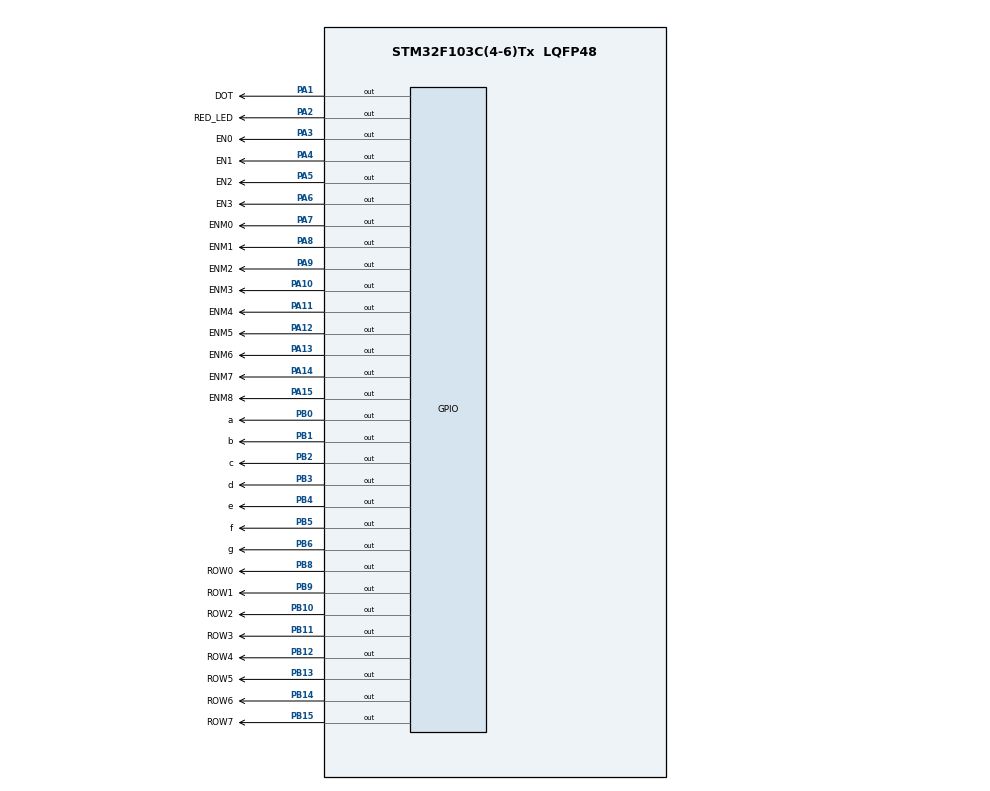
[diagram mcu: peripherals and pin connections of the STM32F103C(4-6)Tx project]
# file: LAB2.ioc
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Mcu.Family=STM32F1
Mcu.Name=STM32F103C(4-6)Tx
Mcu.Package=LQFP48
NVIC.PriorityGroup=NVIC_PRIORITYGROUP_4
NVIC.TIM2_IRQn=true\:0\:0\:false\:false\:true\:true\:true
PA1.GPIO_Label=DOT
PA1.Signal=GPIO_Output
PA10.GPIO_Label=ENM3
PA10.Signal=GPIO_Output
PA11.GPIO_Label=ENM4
PA11.Signal=GPIO_Output
PA12.GPIO_Label=ENM5
PA12.Signal=GPIO_Output
PA13.GPIO_Label=ENM6
PA13.Signal=GPIO_Output
PA14.GPIO_Label=ENM7
PA14.Signal=GPIO_Output
PA15.GPIO_Label=ENM8
PA15.Signal=GPIO_Output
PA2.GPIO_Label=RED_LED
PA2.Signal=GPIO_Output
PA3.GPIO_Label=EN0
PA3.Signal=GPIO_Output
PA4.GPIO_Label=EN1
PA4.Signal=GPIO_Output
PA5.GPIO_Label=EN2
PA5.Signal=GPIO_Output
PA6.GPIO_Label=EN3
PA6.Signal=GPIO_Output
PA7.GPIO_Label=ENM0
PA7.Signal=GPIO_Output
PA8.GPIO_Label=ENM1
PA8.Signal=GPIO_Output
PA9.GPIO_Label=ENM2
PA9.Signal=GPIO_Output
PB0.GPIO_Label=a
PB0.Signal=GPIO_Output
PB1.GPIO_Label=b
PB1.Signal=GPIO_Output
PB10.GPIO_Label=ROW2
PB10.Signal=GPIO_Output
PB11.GPIO_Label=ROW3
PB11.Signal=GPIO_Output
PB12.GPIO_Label=ROW4
PB12.Signal=GPIO_Output
PB13.GPIO_Label=ROW5
PB13.Signal=GPIO_Output
PB14.GPIO_Label=ROW6
PB14.Signal=GPIO_Output
PB15.GPIO_Label=ROW7
PB15.Signal=GPIO_Output
PB2.GPIO_Label=c
PB2.Signal=GPIO_Output
PB3.GPIO_Label=d
PB3.Signal=GPIO_Output
PB4.GPIO_Label=e
PB4.Signal=GPIO_Output
PB5.GPIO_Label=f
PB5.Signal=GPIO_Output
PB6.GPIO_Label=g
PB6.Signal=GPIO_Output
PB8.GPIO_Label=ROW0
PB8.Signal=GPIO_Output
PB9.GPIO_Label=ROW1
PB9.Signal=GPIO_Output
ProjectManager.HeapSize=0x200
ProjectManager.StackSize=0x400
ProjectManager.TargetToolchain=STM32CubeIDE
RCC.APB1Freq_Value=8000000
RCC.APB2Freq_Value=8000000
TIM2.Period=9
TIM2.Prescaler=7999
VP_SYS_VS_ND.Mode=No_Debug
VP_TIM2_VS_ClockSourceINT.Mode=Internal
board=custom

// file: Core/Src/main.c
/* USER CODE BEGIN Header */
/**
  ******************************************************************************
  * @file           : main.c
  * @brief          : Main program body
  ******************************************************************************
  * @attention
  *
  * <h2><center>&copy; Copyright (c) 2024 STMicroelectronics.
  * All rights reserved.</center></h2>
  *
  * This software component is licensed by ST under BSD 3-Clause license,
  * the "License"; You may not use this file except in compliance with the
  * License. You may obtain a copy of the License at:
  *                        opensource.org/licenses/BSD-3-Clause
  *
  ******************************************************************************
  */
/* USER CODE END Header */
#include "main.h"
/* USER CODE BEGIN Includes */
#include "software_timer.h"
//#include "Ex8.h"

/* USER CODE END Includes */

TIM_HandleTypeDef htim2;

void SystemClock_Config(void);
static void MX_GPIO_Init(void);
static void MX_TIM2_Init(void);

/* USER CODE BEGIN 0 */
int hour, minute, second;
//int hour_digit1, hour_digit2, min_digit1, min_digit2;
const int MAX_LED = 4;
int index_led = 0;
int led_buffer[] = {1,2,3,4};

void display7SEG(int num){
	if (num == 0){
		HAL_GPIO_WritePin(a_GPIO_Port, a_Pin, 0);
		HAL_GPIO_WritePin(b_GPIO_Port, b_Pin, 0);
		HAL_GPIO_WritePin(c_GPIO_Port, c_Pin, 0);
		HAL_GPIO_WritePin(d_GPIO_Port, d_Pin, 0);
		HAL_GPIO_WritePin(e_GPIO_Port, e_Pin, 0);
		HAL_GPIO_WritePin(f_GPIO_Port, f_Pin, 0);
		HAL_GPIO_WritePin(g_GPIO_Port, g_Pin, 1);
	}
	if (num == 1){
		HAL_GPIO_WritePin(a_GPIO_Port, a_Pin, 1);
		HAL_GPIO_WritePin(b_GPIO_Port, b_Pin, 0);
		HAL_GPIO_WritePin(c_GPIO_Port, c_Pin, 0);
		HAL_GPIO_WritePin(d_GPIO_Port, d_Pin, 1);
		HAL_GPIO_WritePin(e_GPIO_Port, e_Pin, 1);
		HAL_GPIO_WritePin(f_GPIO_Port, f_Pin, 1);
		HAL_GPIO_WritePin(g_GPIO_Port, g_Pin, 1);
	}
	if (num == 2){
		HAL_GPIO_WritePin(a_GPIO_Port, a_Pin, 0);
		HAL_GPIO_WritePin(b_GPIO_Port, b_Pin, 0);
		HAL_GPIO_WritePin(c_GPIO_Port, c_Pin, 1);
		HAL_GPIO_WritePin(d_GPIO_Port, d_Pin, 0);
		HAL_GPIO_WritePin(e_GPIO_Port, e_Pin, 0);
		HAL_GPIO_WritePin(f_GPIO_Port, f_Pin, 1);
		HAL_GPIO_WritePin(g_GPIO_Port, g_Pin, 0);
	}
	if (num == 3){
		HAL_GPIO_WritePin(a_GPIO_Port, a_Pin, 0);
		HAL_GPIO_WritePin(b_GPIO_Port, b_Pin, 0);
		HAL_GPIO_WritePin(c_GPIO_Port, c_Pin, 0);
		HAL_GPIO_WritePin(d_GPIO_Port, d_Pin, 0);
		HAL_GPIO_WritePin(e_GPIO_Port, e_Pin, 1);
		HAL_GPIO_WritePin(f_GPIO_Port, f_Pin, 1);
		HAL_GPIO_WritePin(g_GPIO_Port, g_Pin, 0);
	}
	if (num == 4){
		HAL_GPIO_WritePin(a_GPIO_Port, a_Pin, 1);
		HAL_GPIO_WritePin(b_GPIO_Port, b_Pin, 0);
		HAL_GPIO_WritePin(c_GPIO_Port, c_Pin, 0);
		HAL_GPIO_WritePin(d_GPIO_Port, d_Pin, 1);
		HAL_GPIO_WritePin(e_GPIO_Port, e_Pin, 1);
		HAL_GPIO_WritePin(f_GPIO_Port, f_Pin, 0);
		HAL_GPIO_WritePin(g_GPIO_Port, g_Pin, 0);
	}
	if (num == 5){
		HAL_GPIO_WritePin(a_GPIO_Port, a_Pin, 0);
		HAL_GPIO_WritePin(b_GPIO_Port, b_Pin, 1);
		HAL_GPIO_WritePin(c_GPIO_Port, c_Pin, 0);
		HAL_GPIO_WritePin(d_GPIO_Port, d_Pin, 0);
		HAL_GPIO_WritePin(e_GPIO_Port, e_Pin, 1);
		HAL_GPIO_WritePin(f_GPIO_Port, f_Pin, 0);
		HAL_GPIO_WritePin(g_GPIO_Port, g_Pin, 0);
	}
	if (num == 6){
		HAL_GPIO_WritePin(a_GPIO_Port, a_Pin, 0);
		HAL_GPIO_WritePin(b_GPIO_Port, b_Pin, 1);
		HAL_GPIO_WritePin(c_GPIO_Port, c_Pin, 0);
		HAL_GPIO_WritePin(d_GPIO_Port, d_Pin, 0);
		HAL_GPIO_WritePin(e_GPIO_Port, e_Pin, 0);
		HAL_GPIO_WritePin(f_GPIO_Port, f_Pin, 0);
		HAL_GPIO_WritePin(g_GPIO_Port, g_Pin, 0);
	}
	if (num == 7){
		HAL_GPIO_WritePin(a_GPIO_Port, a_Pin, 0);
		HAL_GPIO_WritePin(b_GPIO_Port, b_Pin, 0);
		HAL_GPIO_WritePin(c_GPIO_Port, c_Pin, 0);
		HAL_GPIO_WritePin(d_GPIO_Port, d_Pin, 1);
		HAL_GPIO_WritePin(e_GPIO_Port, e_Pin, 1);
		HAL_GPIO_WritePin(f_GPIO_Port, f_Pin, 1);
		HAL_GPIO_WritePin(g_GPIO_Port, g_Pin, 1);
	}
	if (num == 8){
		HAL_GPIO_WritePin(a_GPIO_Port, a_Pin, 0);
		HAL_GPIO_WritePin(b_GPIO_Port, b_Pin, 0);
		HAL_GPIO_WritePin(c_GPIO_Port, c_Pin, 0);
		HAL_GPIO_WritePin(d_GPIO_Port, d_Pin, 0);
		HAL_GPIO_WritePin(e_GPIO_Port, e_Pin, 0);
		HAL_GPIO_WritePin(f_GPIO_Port, f_Pin, 0);
		HAL_GPIO_WritePin(g_GPIO_Port, g_Pin, 0);
	}
	if (num == 9){
		HAL_GPIO_WritePin(a_GPIO_Port, a_Pin, 0);
		HAL_GPIO_WritePin(b_GPIO_Port, b_Pin, 0);
		HAL_GPIO_WritePin(c_GPIO_Port, c_Pin, 0);
		HAL_GPIO_WritePin(d_GPIO_Port, d_Pin, 0);
		HAL_GPIO_WritePin(e_GPIO_Port, e_Pin, 1);
		HAL_GPIO_WritePin(f_GPIO_Port, f_Pin, 0);
		HAL_GPIO_WritePin(g_GPIO_Port, g_Pin, 0);
	}
}

void update7SEG(int index){
	switch(index){
		case 0:
			//TODO
			HAL_GPIO_WritePin(EN0_GPIO_Port, EN0_Pin, 0);
			HAL_GPIO_WritePin(EN1_GPIO_Port, EN1_Pin, 1);
			HAL_GPIO_WritePin(EN2_GPIO_Port, EN2_Pin, 1);
			HAL_GPIO_WritePin(EN3_GPIO_Port, EN3_Pin, 1);
			display7SEG(led_buffer[0]);
			break;
		case 1:
			//TODO
			HAL_GPIO_WritePin(EN0_GPIO_Port, EN0_Pin, 1);
			HAL_GPIO_WritePin(EN1_GPIO_Port, EN1_Pin, 0);
			HAL_GPIO_WritePin(EN2_GPIO_Port, EN2_Pin, 1);
			HAL_GPIO_WritePin(EN3_GPIO_Port, EN3_Pin, 1);
			display7SEG(led_buffer[1]);
			break;
		case 2:
			//TODO
			HAL_GPIO_WritePin(EN0_GPIO_Port, EN0_Pin, 1);
			HAL_GPIO_WritePin(EN1_GPIO_Port, EN1_Pin, 1);
			HAL_GPIO_WritePin(EN2_GPIO_Port, EN2_Pin, 0);
			HAL_GPIO_WritePin(EN3_GPIO_Port, EN3_Pin, 1);
			display7SEG(led_buffer[2]);
			break;
		case 3:
			//TODO
			HAL_GPIO_WritePin(EN0_GPIO_Port, EN0_Pin, 1);
			HAL_GPIO_WritePin(EN1_GPIO_Port, EN1_Pin, 1);
			HAL_GPIO_WritePin(EN2_GPIO_Port, EN2_Pin, 1);
			HAL_GPIO_WritePin(EN3_GPIO_Port, EN3_Pin, 0);
			display7SEG(led_buffer[3]);
			break;
		default:
			break;
	}
}

void updateClockBuffer(){
	led_buffer[0] = hour / 10;
	led_buffer[1] = hour % 10;
	led_buffer[2] = minute / 10;
	led_buffer[3] = minute % 10;
}

void clock_run(){
	second++;
	if (second >= 60){
		second = 0;
		minute++;
	}
	if (minute >= 60){
		minute = 0;
		hour++;
	}
	if (hour >= 24){
		hour = 0;
	}
	updateClockBuffer();
}

void ex8_init(){
	hour = 15;
	minute = 8;
	second = 50;
	HAL_GPIO_WritePin(EN0_GPIO_Port, EN0_Pin, 0);
	HAL_GPIO_WritePin(EN1_GPIO_Port, EN1_Pin, 1);
	HAL_GPIO_WritePin(EN2_GPIO_Port, EN2_Pin, 1);
	HAL_GPIO_WritePin(EN3_GPIO_Port, EN3_Pin, 1);
	updateClockBuffer();
}

void ex8_run(){
	//clock_run();
	if (index_led > 3) index_led = 0;
	update7SEG(index_led++);
}
/* USER CODE END 0 */

int main(void)
{

  /* MCU Configuration--------------------------------------------------------*/

  /* Reset of all peripherals, Initializes the Flash interface and the Systick. */
  HAL_Init();

  /* Configure the system clock */
  SystemClock_Config();

  /* Initialize all configured peripherals */
  MX_GPIO_Init();
  MX_TIM2_Init();
  /* USER CODE BEGIN 2 */
  HAL_TIM_Base_Start_IT(&htim2);
  HAL_GPIO_WritePin(GPIOB, a_Pin|b_Pin|c_Pin|d_Pin|e_Pin|f_Pin
                          |g_Pin, GPIO_PIN_SET);
  HAL_GPIO_WritePin(GPIOA, EN0_Pin|EN1_Pin|EN2_Pin|EN3_Pin, 1);
  ex8_init();
  /* USER CODE END 2 */

  /* Infinite loop */
  /* USER CODE BEGIN WHILE */
  setTimer(0, 100);
  setTimer(1, 25);
  while (1)
  {
    /* USER CODE END WHILE */

    /* USER CODE BEGIN 3 */
	if (isTimerExpired(0) == 1){
		setTimer(0, 100);
		//TODO
		HAL_GPIO_TogglePin(RED_LED_GPIO_Port, RED_LED_Pin);
		HAL_GPIO_TogglePin(DOT_GPIO_Port, DOT_Pin);
		clock_run();
	}
	if (isTimerExpired(1) == 1){
		setTimer(1, 25);
		//TODO
		ex8_run();
	}
  }
  /* USER CODE END 3 */
}

void SystemClock_Config(void)
{
  RCC_OscInitTypeDef RCC_OscInitStruct = {0};
  RCC_ClkInitTypeDef RCC_ClkInitStruct = {0};

  /** Initializes the RCC Oscillators according to the specified parameters
  * in the RCC_OscInitTypeDef structure.
  */
  RCC_OscInitStruct.OscillatorType = RCC_OSCILLATORTYPE_HSI;
  RCC_OscInitStruct.HSIState = RCC_HSI_ON;
  RCC_OscInitStruct.HSICalibrationValue = RCC_HSICALIBRATION_DEFAULT;
  RCC_OscInitStruct.PLL.PLLState = RCC_PLL_NONE;
  if (HAL_RCC_OscConfig(&RCC_OscInitStruct) != HAL_OK)
  {
    Error_Handler();
  }
  /** Initializes the CPU, AHB and APB buses clocks
  */
  RCC_ClkInitStruct.ClockType = RCC_CLOCKTYPE_HCLK|RCC_CLOCKTYPE_SYSCLK
                              |RCC_CLOCKTYPE_PCLK1|RCC_CLOCKTYPE_PCLK2;
  RCC_ClkInitStruct.SYSCLKSource = RCC_SYSCLKSOURCE_HSI;
  RCC_ClkInitStruct.AHBCLKDivider = RCC_SYSCLK_DIV1;
  RCC_ClkInitStruct.APB1CLKDivider = RCC_HCLK_DIV1;
  RCC_ClkInitStruct.APB2CLKDivider = RCC_HCLK_DIV1;

  if (HAL_RCC_ClockConfig(&RCC_ClkInitStruct, FLASH_LATENCY_0) != HAL_OK)
  {
    Error_Handler();
  }
}

static void MX_TIM2_Init(void)
{

  TIM_ClockConfigTypeDef sClockSourceConfig = {0};
  TIM_MasterConfigTypeDef sMasterConfig = {0};

  htim2.Instance = TIM2;
  htim2.Init.Prescaler = 7999;
  htim2.Init.CounterMode = TIM_COUNTERMODE_UP;
  htim2.Init.Period = 9;
  htim2.Init.ClockDivision = TIM_CLOCKDIVISION_DIV1;
  htim2.Init.AutoReloadPreload = TIM_AUTORELOAD_PRELOAD_DISABLE;
  if (HAL_TIM_Base_Init(&htim2) != HAL_OK)
  {
    Error_Handler();
  }
  sClockSourceConfig.ClockSource = TIM_CLOCKSOURCE_INTERNAL;
  if (HAL_TIM_ConfigClockSource(&htim2, &sClockSourceConfig) != HAL_OK)
  {
    Error_Handler();
  }
  sMasterConfig.MasterOutputTrigger = TIM_TRGO_RESET;
  sMasterConfig.MasterSlaveMode = TIM_MASTERSLAVEMODE_DISABLE;
  if (HAL_TIMEx_MasterConfigSynchronization(&htim2, &sMasterConfig) != HAL_OK)
  {
    Error_Handler();
  }

}

static void MX_GPIO_Init(void)
{
  GPIO_InitTypeDef GPIO_InitStruct = {0};

  /* GPIO Ports Clock Enable */
  __HAL_RCC_GPIOA_CLK_ENABLE();
  __HAL_RCC_GPIOB_CLK_ENABLE();

  /*Configure GPIO pin Output Level */
  HAL_GPIO_WritePin(GPIOA, DOT_Pin|RED_LED_Pin|EN0_Pin|EN1_Pin
                          |EN2_Pin|EN3_Pin|ENM0_Pin|ENM1_Pin
                          |ENM2_Pin|ENM3_Pin|ENM4_Pin|ENM5_Pin
                          |ENM6_Pin|ENM7_Pin|ENM8_Pin, GPIO_PIN_RESET);

  /*Configure GPIO pin Output Level */
  HAL_GPIO_WritePin(GPIOB, a_Pin|b_Pin|c_Pin|ROW2_Pin
                          |ROW3_Pin|ROW4_Pin|ROW5_Pin|ROW6_Pin
                          |ROW7_Pin|d_Pin|e_Pin|f_Pin
                          |g_Pin|ROW0_Pin|ROW1_Pin, GPIO_PIN_RESET);

  /*Configure GPIO pins : DOT_Pin RED_LED_Pin EN0_Pin EN1_Pin
                           EN2_Pin EN3_Pin ENM0_Pin ENM1_Pin
                           ENM2_Pin ENM3_Pin ENM4_Pin ENM5_Pin
                           ENM6_Pin ENM7_Pin ENM8_Pin */
  GPIO_InitStruct.Pin = DOT_Pin|RED_LED_Pin|EN0_Pin|EN1_Pin
                          |EN2_Pin|EN3_Pin|ENM0_Pin|ENM1_Pin
                          |ENM2_Pin|ENM3_Pin|ENM4_Pin|ENM5_Pin
                          |ENM6_Pin|ENM7_Pin|ENM8_Pin;
  GPIO_InitStruct.Mode = GPIO_MODE_OUTPUT_PP;
  GPIO_InitStruct.Pull = GPIO_NOPULL;
  GPIO_InitStruct.Speed = GPIO_SPEED_FREQ_LOW;
  HAL_GPIO_Init(GPIOA, &GPIO_InitStruct);

  /*Configure GPIO pins : a_Pin b_Pin c_Pin ROW2_Pin
                           ROW3_Pin ROW4_Pin ROW5_Pin ROW6_Pin
                           ROW7_Pin d_Pin e_Pin f_Pin
                           g_Pin ROW0_Pin ROW1_Pin */
  GPIO_InitStruct.Pin = a_Pin|b_Pin|c_Pin|ROW2_Pin
                          |ROW3_Pin|ROW4_Pin|ROW5_Pin|ROW6_Pin
                          |ROW7_Pin|d_Pin|e_Pin|f_Pin
                          |g_Pin|ROW0_Pin|ROW1_Pin;
  GPIO_InitStruct.Mode = GPIO_MODE_OUTPUT_PP;
  GPIO_InitStruct.Pull = GPIO_NOPULL;
  GPIO_InitStruct.Speed = GPIO_SPEED_FREQ_LOW;
  HAL_GPIO_Init(GPIOB, &GPIO_InitStruct);

}

/* USER CODE BEGIN 4 */
int counter = 100;
void HAL_TIM_PeriodElapsedCallback(TIM_HandleTypeDef *htim){
//	if (counter > 0){
//		counter--;
//		if (counter <= 0){
//			counter = 100;
//			HAL_GPIO_TogglePin(RED_LED_GPIO_Port, RED_LED_Pin);
//		}
//	}
	timer_run();
}
/* USER CODE END 4 */

void Error_Handler(void)
{
  __disable_irq();
  while (1)
  {
  }
}

/************************ (C) COPYRIGHT STMicroelectronics *****END OF FILE****/
